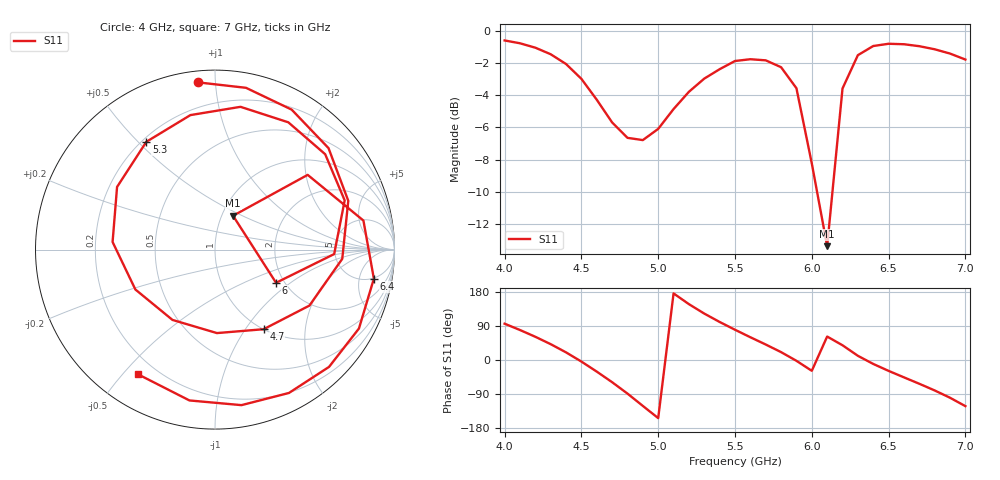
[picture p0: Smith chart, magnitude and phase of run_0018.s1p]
! Touchstone file exported from HFSS 2024.2.0
!  File:  C:/Users/wsak9/Desktop/Sim Fast/Widenad Patch/WP_AI_V1_sweep.aedt
!  Generated:  03:29:40 PM Oct 13, 2026
!  Design:  A1_model
!  Project:  WP_AI_V1_sweep
!  Setup:  Setup1
!  Solution:  Sweep
! Variables:
!  Air_gap = 2.6mm
!  Curve_Amp1 = 2.69
!  Curve_len1 = 1
!  Curve_pos = 9.935mm
!  Extra = 3.6mm
!  H_sub = 0.79mm
!  L_Patch = 15.87mm
!  L_Patch1 = 19.07mm
!  Sx = 2.05mm
!  Sy = 4.62mm
!  WS = 0.85mm
!  W_Patch = 20.14mm
!  W_Patch1 = 15.47mm
!Data is not renormalized
# GHz S MA
! Terminal data exported
! Port[1] = 1
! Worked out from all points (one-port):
!   31 points, 4 GHz to 7 GHz, reference per port
!   lowest |S11| = -13.4 dB at 6.1 GHz (marker M1), VSWR 1.54
!   |S11| at or under -10 dB: 6.034 GHz to 6.135 GHz (100.5 MHz wide, 1.65 % of centre)
!   S11 on the Smith chart (normalised r, x): 4 GHz: 0.06, +0.90; 4.7 GHz: 1.00, -1.22; 5.3 GHz: 0.22, +0.53; 6 GHz: 1.81, -0.79; 6.4 GHz: 4.81, -8.21; 7 GHz: 0.13, -0.55
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4  0.9366 95.8
4.2  0.8891 61.3
4.3  0.8483 41.8
4.4  0.7907 20.1
4.5  0.7108 -4.2
4.6  0.6118 -30.6
4.7  0.5197 -58.6
4.8  0.4653 -88.7
4.9  0.4578 -121.2
5  0.4962 -153.4
5.1  0.5722 175.8
5.2  0.6477 147.4
5.3  0.7121 122.5
5.4  0.7618 100.4
5.5  0.8081 79.9
5.7  0.8119 40.9
5.8  0.7728 20.8
5.9  0.6645 -2.1
6  0.3872 -28.5
6.1  0.2137 61.9
6.2  0.6633 38.9
6.3  0.8426 11.1
6.4  0.8999 -10.4
6.5  0.9146 -28.7
6.7  0.8987 -62.7
6.8  0.8791 -80.4
6.9  0.8524 -99.6
7  0.8166 -121.8
